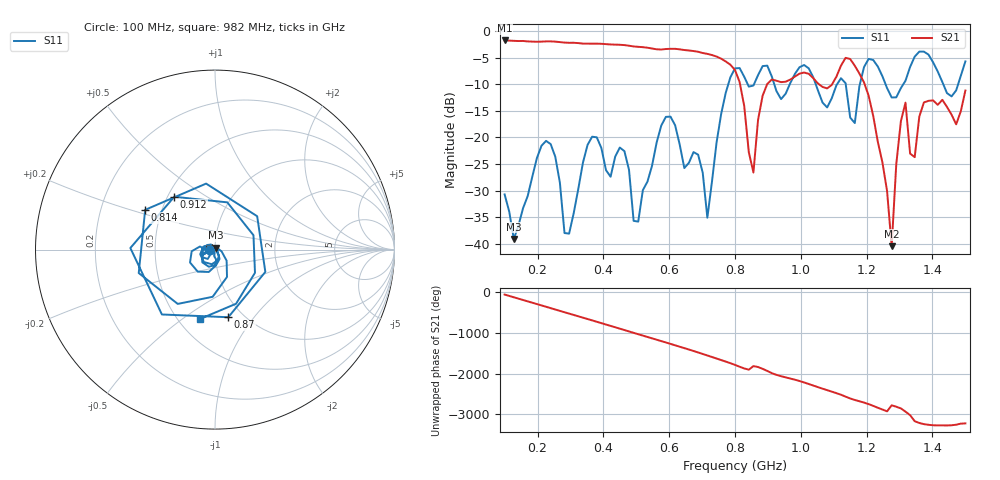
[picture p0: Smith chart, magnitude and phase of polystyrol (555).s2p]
! NanoVNA-App
! Date: 2025-09-25 15:34:12
! Start: 100MHz Stop: 1,5GHz Points: 101
! S-Parameter data: F S11 S21 S12 S22
# Hz S RI R 50
!  Frequency  S11_Real  S11_Imag  S21_Real  S21_Imag  S12_Real  S12_Imag  S22_Real  S22_Imag
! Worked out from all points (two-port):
!   101 points, 100 MHz to 1.5 GHz, reference 50 ohm
!   highest |S21| = -1.80 dB at 100 MHz (marker M1); lowest = -40.4 dB at 1.276 GHz (marker M2)
!   |S21| within 3 dB of the highest: start of sweep to 742.9 MHz
!   lowest |S11| = -39.1 dB at 128 MHz (marker M3), VSWR 1.02, Z = 50.3 + j1.07 ohm
!   |S11| at or under -10 dB: start of sweep to 779.7 MHz; 1.045 GHz to 1.11 GHz (65.18 MHz wide, 6.05 % of centre); 1.257 GHz to 1.312 GHz (54.27 MHz wide, 4.22 % of centre)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
!   S12 and S22 are empty: the file has one direction only
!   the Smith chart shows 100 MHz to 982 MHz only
!   S11 on the Smith chart (normalised r, x): 100 MHz: 0.94, -0.01; 814 MHz: 0.40, +0.22; 870 MHz: 0.85, -0.75; 912 MHz: 0.54, +0.37; 982 MHz: 0.64, -0.58
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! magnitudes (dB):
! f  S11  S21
! 100 MHz  -30.7  -1.8
! 128 MHz  -39.1  -1.9
! 212 MHz  -21.6  -2.0
! 282 MHz  -38.0  -2.2
! 338 MHz  -24.7  -2.4
! 464 MHz  -22.6  -2.7
! 506 MHz  -35.8  -3.0
! 576 MHz  -17.8  -3.5
! 716 MHz  -35.1  -4.3
! 800 MHz  -7.0  -7.3
! 814 MHz  -7.0  -9.6
! 856 MHz  -10.3  -26.6
! 870 MHz  -8.3  -16.7
! 912 MHz  -8.6  -9.1
! 982 MHz  -8.1  -8.6
! 1.038 GHz  -8.7  -8.9
! 1.164 GHz  -17.3  -6.5
! 1.192 GHz  -6.8  -9.7
! 1.276 GHz  -12.5  -40.4
! 1.318 GHz  -9.4  -13.5
! 1.346 GHz  -4.8  -23.7
! 1.5 GHz  -5.7  -11.2
